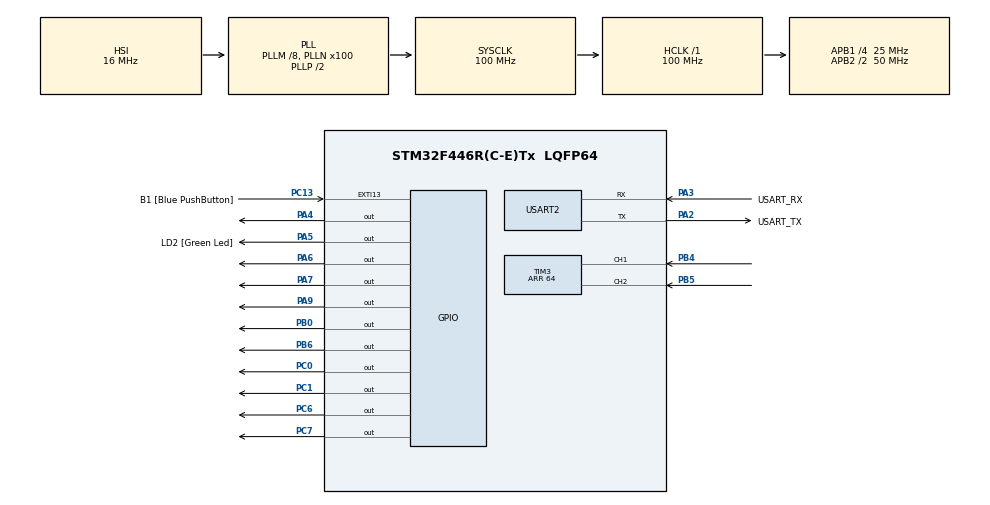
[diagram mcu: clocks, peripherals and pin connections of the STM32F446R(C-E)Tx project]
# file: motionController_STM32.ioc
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Mcu.Family=STM32F4
Mcu.Name=STM32F446R(C-E)Tx
Mcu.Package=LQFP64
NVIC.FLASH_IRQn=true\:0\:0\:false\:false\:true\:true\:true\:true
NVIC.PVD_IRQn=true\:0\:0\:false\:false\:true\:true\:true\:true
NVIC.PriorityGroup=NVIC_PRIORITYGROUP_0
NVIC.USART2_IRQn=true\:0\:0\:false\:false\:true\:true\:true\:true
PA13.GPIO_Label=TMS
PA13.Mode=Serial_Wire
PA13.Signal=SYS_JTMS-SWDIO
PA14.GPIO_Label=TCK
PA14.Mode=Serial_Wire
PA14.Signal=SYS_JTCK-SWCLK
PA2.GPIO_Label=USART_TX
PA2.Mode=Asynchronous
PA2.Signal=USART2_TX
PA3.GPIO_Label=USART_RX
PA3.Mode=Asynchronous
PA3.Signal=USART2_RX
PA4.Signal=GPIO_Output
PA5.GPIO_Label=LD2 [Green Led]
PA5.Signal=GPIO_Output
PA6.Signal=GPIO_Output
PA7.Signal=GPIO_Output
PA9.Signal=GPIO_Output
PB0.Signal=GPIO_Output
PB3.GPIO_Label=SWO
PB3.Signal=SYS_JTDO-SWO
PB4.Signal=S_TIM3_CH1
PB5.Signal=S_TIM3_CH2
PB6.Signal=GPIO_Output
PC0.Signal=GPIO_Output
PC1.Signal=GPIO_Output
PC13.GPIO_Label=B1 [Blue PushButton]
PC13.GPIO_ModeDefaultEXTI=GPIO_MODE_IT_FALLING
PC13.Signal=GPXTI13
PC14-OSC32_IN.Mode=LSE-External-Oscillator
PC14-OSC32_IN.Signal=RCC_OSC32_IN
PC15-OSC32_OUT.Mode=LSE-External-Oscillator
PC15-OSC32_OUT.Signal=RCC_OSC32_OUT
PC6.Signal=GPIO_Output
PC7.Signal=GPIO_Output
PH0-OSC_IN.Mode=HSE-External-Oscillator
PH0-OSC_IN.Signal=RCC_OSC_IN
PH1-OSC_OUT.Mode=HSE-External-Oscillator
PH1-OSC_OUT.Signal=RCC_OSC_OUT
ProjectManager.HeapSize=0x200
ProjectManager.StackSize=0x400
ProjectManager.TargetToolchain=STM32CubeIDE
RCC.48MHZClocksFreq_Value=84000000
RCC.AHBFreq_Value=100000000
RCC.APB1CLKDivider=RCC_HCLK_DIV4
RCC.APB1Freq_Value=25000000
RCC.APB1TimFreq_Value=50000000
RCC.APB2CLKDivider=RCC_HCLK_DIV2
RCC.APB2Freq_Value=50000000
RCC.APB2TimFreq_Value=100000000
RCC.CortexFreq_Value=100000000
RCC.FLatency-AdvancedSettings=FLASH_LATENCY_3
RCC.HCLKFreq_Value=100000000
RCC.HSE_VALUE=8000000
RCC.HSI_VALUE=16000000
RCC.PLLM=8
RCC.PLLN=100
RCC.SYSCLKFreq_VALUE=100000000
RCC.SYSCLKSource=RCC_SYSCLKSOURCE_PLLCLK
RCC.USBFreq_Value=100000000
RCC.VCOOutputFreq_Value=200000000
SH.S_TIM3_CH1.0=TIM3_CH1,Encoder_Interface
SH.S_TIM3_CH2.0=TIM3_CH2,Encoder_Interface
TIM3.EncoderMode=TIM_ENCODERMODE_TI12
TIM3.IC1Filter=1
TIM3.Period=64
USART2.VirtualMode=VM_ASYNC
VP_TIM2_VS_ClockSourceINT.Mode=Internal
board=NUCLEO-F446RE

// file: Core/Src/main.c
/* USER CODE BEGIN Header */
/**
  ******************************************************************************
  * @file           : main.c
  * @brief          : Main program body
  ******************************************************************************
  * @attention
  *
  * Copyright (c) 2025 STMicroelectronics.
  * All rights reserved.
  *
  * This software is licensed under terms that can be found in the LICENSE file
  * in the root directory of this software component.
  * If no LICENSE file comes with this software, it is provided AS-IS.
  *
  ******************************************************************************
  */
/* USER CODE END Header */
#include "main.h"
#include "tim.h"
#include "usart.h"
#include "gpio.h"

/* USER CODE BEGIN Includes */
#include "motion.h"
/* USER CODE END Includes */

/* USER CODE BEGIN PD */
#define USE_BSP
/* USER CODE END PD */

void SystemClock_Config(void);
/* USER CODE BEGIN PFP */

static int32_t s_encoderPosition = 0;

int32_t encoderUpdate()
{
	s_encoderPosition = __HAL_TIM_GET_COUNTER(&htim3);

	if ( s_encoderPosition > 32767 )
	{
		s_encoderPosition = s_encoderPosition - 65535;
	}

	s_encoderPosition /= 4;

	return( s_encoderPosition );
}

void encoderInit()
{
	HAL_TIM_Encoder_Start(&htim3, TIM_CHANNEL_ALL);
}
/* USER CODE END PFP */

/* USER CODE BEGIN 0 */
// Use Timer 2 count register to measure elapsed time in micro-seconds
// Timer 2 runs at 50 MHZ, clk tick rate is 20 nano-seconds.
volatile uint32_t s_lastTimeNs = 0;
volatile uint64_t s_elapsedTimeNs = 0;
const uint32_t s_maxTimeNs = 4294967295;

uint64_t getMicros()
{
	// TIM2 is running at 50 MHz, each tick is 20 nanos.
	uint32_t currentTimeNs = (__HAL_TIM_GetCounter(&htim2) * 20);
	uint32_t elapsedTimeNs;
	uint64_t elapsedTimeUs;

	// Detect timer overflow, max time value is 4294967295 (32 bit timer)
	// and adjust the elapsed time for the overflow.
	// The time overflows in 85 seconds.
	if ( currentTimeNs > s_lastTimeNs )
	{
		elapsedTimeNs = currentTimeNs - s_lastTimeNs;
	}
	else
	{
		elapsedTimeNs = (s_maxTimeNs - s_lastTimeNs) + currentTimeNs + 1;
	}

	s_lastTimeNs = currentTimeNs;
	s_elapsedTimeNs += elapsedTimeNs;
	elapsedTimeUs = s_elapsedTimeNs / 1000;
	return elapsedTimeUs;
}
/* USER CODE END 0 */

int main(void)
{

  /* MCU Configuration--------------------------------------------------------*/

  /* Reset of all peripherals, Initializes the Flash interface and the Systick. */
  HAL_Init();

  /* Configure the system clock */
  SystemClock_Config();

  /* Initialize all configured peripherals */
  MX_GPIO_Init();
  MX_USART2_UART_Init();
  MX_TIM2_Init();
  MX_TIM3_Init();
  /* USER CODE BEGIN 2 */
  // htim2 is configured for reading a quadrature encoder by the HAL
  // The knob device is the interface to the encoder using htim2.
  //encoderInit();
  // Initializes encoder.
  BSP_initKnob();
  HAL_TIM_Base_Start(&htim2);
  /* USER CODE END 2 */

  /* Infinite loop */
  /* USER CODE BEGIN WHILE */
  while (1)
  {
	  // This is a C++ function allowing project to support C++ classes
	  // defined in the Cpp project subfolder; altMain never returns.
	  altMain();
    /* USER CODE END WHILE */

  }
}

void SystemClock_Config(void)
{
  RCC_OscInitTypeDef RCC_OscInitStruct = {0};
  RCC_ClkInitTypeDef RCC_ClkInitStruct = {0};

  /** Configure the main internal regulator output voltage
  */
  __HAL_RCC_PWR_CLK_ENABLE();
  __HAL_PWR_VOLTAGESCALING_CONFIG(PWR_REGULATOR_VOLTAGE_SCALE3);

  /** Initializes the RCC Oscillators according to the specified parameters
  * in the RCC_OscInitTypeDef structure.
  */
  RCC_OscInitStruct.OscillatorType = RCC_OSCILLATORTYPE_HSI;
  RCC_OscInitStruct.HSIState = RCC_HSI_ON;
  RCC_OscInitStruct.HSICalibrationValue = RCC_HSICALIBRATION_DEFAULT;
  RCC_OscInitStruct.PLL.PLLState = RCC_PLL_ON;
  RCC_OscInitStruct.PLL.PLLSource = RCC_PLLSOURCE_HSI;
  RCC_OscInitStruct.PLL.PLLM = 8;
  RCC_OscInitStruct.PLL.PLLN = 100;
  RCC_OscInitStruct.PLL.PLLP = RCC_PLLP_DIV2;
  RCC_OscInitStruct.PLL.PLLQ = 2;
  RCC_OscInitStruct.PLL.PLLR = 2;
  if (HAL_RCC_OscConfig(&RCC_OscInitStruct) != HAL_OK)
  {
    Error_Handler();
  }

  /** Initializes the CPU, AHB and APB buses clocks
  */
  RCC_ClkInitStruct.ClockType = RCC_CLOCKTYPE_HCLK|RCC_CLOCKTYPE_SYSCLK
                              |RCC_CLOCKTYPE_PCLK1|RCC_CLOCKTYPE_PCLK2;
  RCC_ClkInitStruct.SYSCLKSource = RCC_SYSCLKSOURCE_PLLCLK;
  RCC_ClkInitStruct.AHBCLKDivider = RCC_SYSCLK_DIV1;
  RCC_ClkInitStruct.APB1CLKDivider = RCC_HCLK_DIV4;
  RCC_ClkInitStruct.APB2CLKDivider = RCC_HCLK_DIV2;

  if (HAL_RCC_ClockConfig(&RCC_ClkInitStruct, FLASH_LATENCY_3) != HAL_OK)
  {
    Error_Handler();
  }
}

void Error_Handler(void)
{
  __disable_irq();
  while (1)
  {
  }
}
